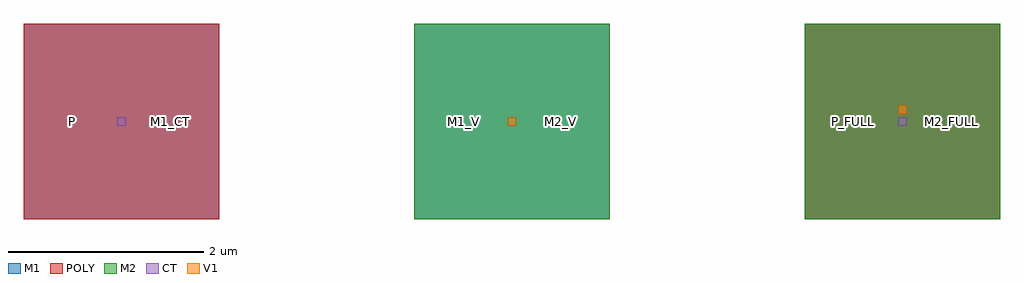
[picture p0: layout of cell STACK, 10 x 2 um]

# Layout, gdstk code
import gdstk
lib = gdstk.Library(unit=1e-6, precision=1e-09)
def R(c, l, rs):  # rectangles x0, y0, x1, y1
    for r in rs: c.add(gdstk.rectangle(r[:2], r[2:], *l))
def A(c, l, x, y, w, h, nx, ny, dx, dy):  # array of equal rectangles
    R(c, l, [(x+i*dx, y+j*dy, x+i*dx+w, y+j*dy+h) for i in range(nx) for j in range(ny)])
POLY = (41, 1)
CT = (72, 1)
M1 = (81, 1)
M2 = (82, 1)
V1 = (91, 1)

stack = lib.new_cell('STACK')
R(stack, POLY, [(-1,-1,1,1), (7,-1,9,1)])
R(stack, CT, [(-0.045,-0.045,0.045,0.045), (7.955,-0.045,8.045,0.045)])
A(stack, M1, -1, -1, 2, 2, 3, 1, 4, 0)
R(stack, M2, [(3,-1,5,1), (7,-1,9,1)])
R(stack, V1, [(3.955,-0.045,4.045,0.045), (7.955,0.075,8.045,0.165)])
stack.add(gdstk.Label('P', (-0.5,0), layer=41, texttype=1))
stack.add(gdstk.Label('P_FULL', (7.5,0), layer=41, texttype=1))
stack.add(gdstk.Label('M1_CT', (0.5,0), layer=81, texttype=1))
stack.add(gdstk.Label('M1_V', (3.5,0), layer=81, texttype=1))
stack.add(gdstk.Label('M2_V', (4.5,0), layer=82, texttype=1))
stack.add(gdstk.Label('M2_FULL', (8.5,0), layer=82, texttype=1))

lib.write_gds('STACK.gds')
